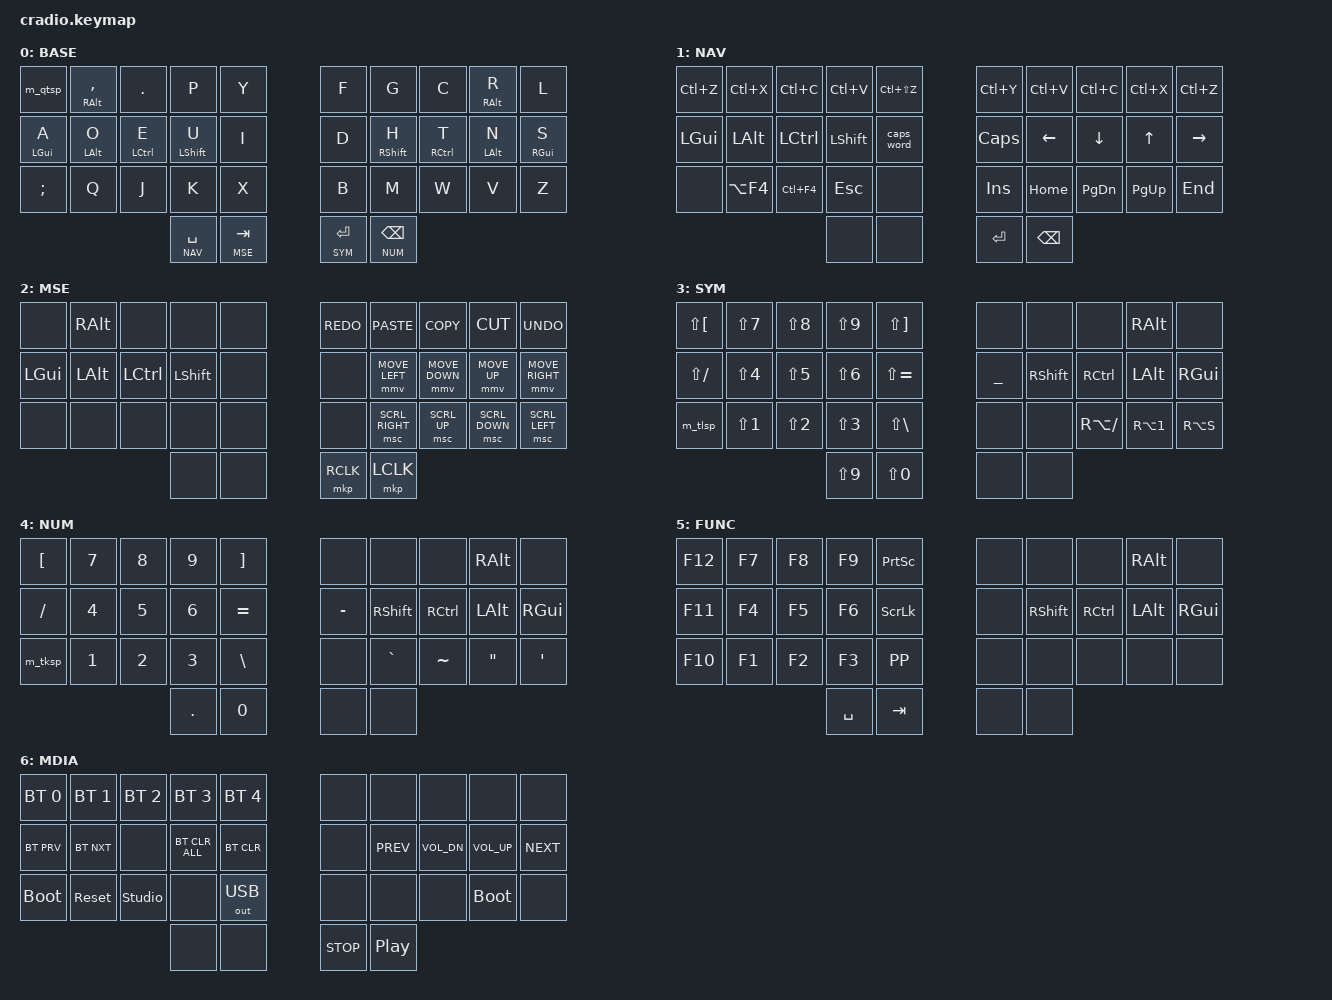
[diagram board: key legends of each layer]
#include <behaviors.dtsi>
#include <dt-bindings/zmk/bt.h>
#include <dt-bindings/zmk/ext_power.h>
#include <dt-bindings/zmk/keys.h>
#include <dt-bindings/zmk/pointing.h>
#include <dt-bindings/zmk/outputs.h>

#define BASE 0
#define NAV  1
#define MSE  2
#define SYM  3
#define NUM  4
#define FUNC 5
#define MDIA 6

/ {
    macros {
        // Sends ` followed by Space
        m_tksp: m_tksp {
            compatible = "zmk,behavior-macro";
            #binding-cells = <0>;
            bindings = <&kp GRAVE &kp SPACE>;
        };

        // Sends ' followed by Space
        m_qtsp: m_qtsp {
            compatible = "zmk,behavior-macro";
            #binding-cells = <0>;
            bindings = <&kp SQT &kp SPACE>;
        };

        // Sends ~ followed by Space
        m_tlsp: m_tlsp {
            compatible = "zmk,behavior-macro";
            #binding-cells = <0>;
            bindings = <&kp LS(GRAVE) &kp SPACE>;
        };
    };
};

/ {
    behaviors {

/* --- TailorKey HRM Behaviors for Ferris (34-key Matrix) --- */

        // Left Pinky
        hrm_lp: hrm_lp {
            compatible = "zmk,behavior-hold-tap";
            #binding-cells = <2>;
            tapping-term-ms = <260>;
            bindings = <&kp>, <&kp>;
            flavor = "tap-preferred";
            quick-tap-ms = <300>;
            require-prior-idle-ms = <150>;
            hold-trigger-key-positions = <5 6 7 8 9 15 16 17 18 19 25 26 27 28 29 30 31 32 33>;
            hold-trigger-on-release;
        };

        // Left Ring
        hrm_lr: hrm_lr {
            compatible = "zmk,behavior-hold-tap";
            #binding-cells = <2>;
            tapping-term-ms = <240>;
            bindings = <&kp>, <&kp>;
            flavor = "tap-preferred";
            quick-tap-ms = <300>;
            require-prior-idle-ms = <150>;
            hold-trigger-key-positions = <5 6 7 8 9 15 16 17 18 19 25 26 27 28 29 30 31 32 33>;
            hold-trigger-on-release;
        };

        // Left Middle
        hrm_lm: hrm_lm {
            compatible = "zmk,behavior-hold-tap";
            #binding-cells = <2>;
            tapping-term-ms = <230>;
            bindings = <&kp>, <&kp>;
            flavor = "tap-preferred";
            quick-tap-ms = <300>;
            require-prior-idle-ms = <150>;
            hold-trigger-key-positions = <5 6 7 8 9 15 16 17 18 19 25 26 27 28 29 30 31 32 33>;
            hold-trigger-on-release;
        };

        // Left Index
        hrm_li: hrm_li {
            compatible = "zmk,behavior-hold-tap";
            #binding-cells = <2>;
            tapping-term-ms = <190>;
            bindings = <&kp>, <&kp>;
            flavor = "tap-preferred";
            quick-tap-ms = <300>;
            require-prior-idle-ms = <100>;
            hold-trigger-key-positions = <5 6 7 8 9 15 16 17 18 19 25 26 27 28 29 30 31 32 33>;
            hold-trigger-on-release;
        };

        // Right Index
        hrm_ri: hrm_ri {
            compatible = "zmk,behavior-hold-tap";
            #binding-cells = <2>;
            tapping-term-ms = <190>;
            bindings = <&kp>, <&kp>;
            flavor = "tap-preferred";
            quick-tap-ms = <300>;
            require-prior-idle-ms = <100>;
            hold-trigger-key-positions = <0 1 2 3 4 10 11 12 13 14 20 21 22 23 24 30 31 32 33>;
            hold-trigger-on-release;
        };

        // Right Middle
        hrm_rm: hrm_rm {
            compatible = "zmk,behavior-hold-tap";
            #binding-cells = <2>;
            tapping-term-ms = <230>;
            bindings = <&kp>, <&kp>;
            flavor = "tap-preferred";
            quick-tap-ms = <300>;
            require-prior-idle-ms = <150>;
            hold-trigger-key-positions = <0 1 2 3 4 10 11 12 13 14 20 21 22 23 24 30 31 32 33>;
            hold-trigger-on-release;
        };

        // Right Ring
        hrm_rr: hrm_rr {
            compatible = "zmk,behavior-hold-tap";
            #binding-cells = <2>;
            tapping-term-ms = <240>;
            bindings = <&kp>, <&kp>;
            flavor = "tap-preferred";
            quick-tap-ms = <300>;
            require-prior-idle-ms = <150>;
            hold-trigger-key-positions = <0 1 2 3 4 10 11 12 13 14 20 21 22 23 24 30 31 32 33>;
            hold-trigger-on-release;
        };

        // Right Pinky
        hrm_rp: hrm_rp {
            compatible = "zmk,behavior-hold-tap";
            #binding-cells = <2>;
            tapping-term-ms = <260>;
            bindings = <&kp>, <&kp>;
            flavor = "tap-preferred";
            quick-tap-ms = <300>;
            require-prior-idle-ms = <150>;
            hold-trigger-key-positions = <0 1 2 3 4 10 11 12 13 14 20 21 22 23 24 30 31 32 33>;
            hold-trigger-on-release;
        };
        
        // Base Thumb keys
        thumbs: thumbs {
            compatible = "zmk,behavior-hold-tap";
            #binding-cells = <2>;
            tapping-term-ms = <200>;
            bindings = <&mo>, <&kp>;
            flavor = "balanced";
            quick-tap-ms = <300>;
        };

        // Consolidated thumb combo behavior (for the missing inner thumbs)
        thumb_combo_behavior: thumb_combo_behavior {
            compatible = "zmk,behavior-hold-tap";
            #binding-cells = <2>;
            flavor = "balanced"; 
            tapping-term-ms = <200>;
            quick-tap-ms = <200>; // Allows repeating ESC or DEL
            bindings = <&mo>, <&kp>;
        };
    };
};

/ {
    combos {
        compatible = "zmk,combos";

        // å (aa) - Left O+E (Ring+Middle)
        combo_aa {
            timeout-ms = <40>;
            key-positions = <11 12>;
            bindings = <&kp RA(W)>;
            layers = <BASE>;
            require-prior-idle-ms = <100>;
        };

        // æ (ae) - Left E+U (Middle+Index)
        combo_ae {
            timeout-ms = <40>;
            key-positions = <12 13>;
            bindings = <&kp RA(Z)>;
            layers = <BASE>;
            require-prior-idle-ms = <100>;
        };

        // þ (thorn) - Left Top Row ' + , (Ring+Middle)
        combo_thorn {
            timeout-ms = <40>;
            key-positions = <1 2>;
            bindings = <&kp RA(T)>;
            layers = <BASE>;
            require-prior-idle-ms = <100>;
        };

        // ´ (Acute Accent) - Right T+N (Middle+Ring)
        combo_accent {
            timeout-ms = <40>;
            key-positions = <17 18>;
            bindings = <&kp SQT>; // Dead-key for International layouts
            layers = <BASE>;
            require-prior-idle-ms = <100>;
        };

        // ø (Norwegian oe) - Right H+T (Index+Middle)
        combo_no_oe {
            timeout-ms = <40>;
            key-positions = <16 17>;
            bindings = <&kp RA(L)>;
            layers = <BASE>;
            require-prior-idle-ms = <100>;
        };

        // ö (Icelandic oe) - Right H+N (Index+Ring) [Wide Skip]
        combo_is_oe {
            timeout-ms = <40>;
            key-positions = <16 18>;
            bindings = <&kp RA(P)>; // Correct AltGr binding for ö
            layers = <BASE>;
            require-prior-idle-ms = <100>;
        };

        // ð (eth) - Right Top Row C+R (Index+Middle)
        combo_eth {
            timeout-ms = <40>;
            key-positions = <7 8>;
            bindings = <&kp RA(D)>;
            layers = <BASE>;
            require-prior-idle-ms = <100>;
        };

        // Left Thumbs: Outer(30) + Inner(31) = MDIA / ESC
        combo_magic_esc {
            timeout-ms = <50>;
            key-positions = <30 31>;
            bindings = <&thumb_combo_behavior MDIA ESC>;
            layers = <BASE>;
            require-prior-idle-ms = <100>;
        };

        // Right Thumbs: Inner(32) + Outer(33) = FUNC / DEL
        combo_func_del {
            timeout-ms = <50>;
            key-positions = <32 33>;
            bindings = <&thumb_combo_behavior FUNC DEL>;
            layers = <BASE>;
            require-prior-idle-ms = <100>;
        };

        // Right Thumbs: Inner(32) + Outer(33) = Middle Click (ONLY on Mouse Layer)
        combo_mouse_middle_click {
            timeout-ms = <50>;
            key-positions = <32 33>;
            bindings = <&mkp MCLK>;
            layers = <MSE>; 
        };

        // Left Thumbs: Outer(30) + Inner(31) = K_APP (ONLY on Function Layer)
        combo_function_app_menu {
            timeout-ms = <50>;
            key-positions = <30 31>;
            bindings = <&kp K_APP>;
            layers = <FUNC>; 
        };
    };
};

/ {
    keymap {
        compatible = "zmk,keymap";

        base {
            display-name = "BASE";
            bindings = <
//  |          0         |          1          |          2          |          3          |          4          |   |          5          |          6          |          7          |          8          |          9          |
    &m_qtsp              &hrm_lr RALT COMMA    &kp DOT               &kp P                 &kp Y                     &kp F                 &kp G                 &kp C                 &hrm_rr RALT R        &kp L
    &hrm_lp LGUI A       &hrm_lr LALT O        &hrm_lm LCTRL E       &hrm_li LSHFT U       &kp I                     &kp D                 &hrm_ri RSHFT H       &hrm_rm RCTRL T       &hrm_rr LALT N        &hrm_rp RGUI S
    &kp SEMI             &kp Q                 &kp J                 &kp K                 &kp X                     &kp B                 &kp M                 &kp W                 &kp V                 &kp Z
                                                                     &thumbs NAV SPACE     &thumbs MSE TAB           &thumbs SYM RET       &thumbs NUM BSPC
            >;
        };

        nav {
            display-name = "NAV";
            bindings = <
//  |          0         |          1          |          2          |          3          |          4          |   |          5          |          6          |          7          |          8          |          9          |
    &kp LC(Z)            &kp LC(X)             &kp LC(C)             &kp LC(V)             &kp LC(LS(Z))             &kp LC(Y)             &kp LC(V)             &kp LC(C)             &kp LC(X)             &kp LC(Z)
    &kp LGUI             &kp LALT              &kp LCTRL             &kp LSHFT             &caps_word                &kp CAPS              &kp LEFT              &kp DOWN              &kp UP                &kp RIGHT
    &none                &kp LA(F4)            &kp LC(F4)            &kp ESC               &none                     &kp INS               &kp HOME              &kp PG_DN             &kp PG_UP             &kp END
                                                                     &none                 &none                     &kp RET               &kp BSPC
            >;
        };

        mse {
            display-name = "MSE";
            bindings = <
//  |          0         |          1          |          2          |          3          |          4          |   |          5          |          6          |          7          |          8          |          9          |
    &none                &kp RALT              &none                 &none                 &none                     &kp K_REDO            &kp K_PASTE           &kp K_COPY            &kp K_CUT             &kp K_UNDO
    &kp LGUI             &kp LALT              &kp LCTRL             &kp LSHFT             &none                     &none                 &mmv MOVE_LEFT        &mmv MOVE_DOWN        &mmv MOVE_UP          &mmv MOVE_RIGHT
    &none                &none                 &none                 &none                 &none                     &none                 &msc SCRL_RIGHT       &msc SCRL_UP          &msc SCRL_DOWN        &msc SCRL_LEFT
                                                                     &none                 &none                     &mkp RCLK             &mkp LCLK
            >;
        };

        sym {
            display-name = "SYM";
            bindings = <
//  |          0         |          1          |          2          |          3          |          4          |   |          5          |          6          |          7          |          8          |          9          |
    &kp LS(LBKT)         &kp LS(N7)            &kp LS(N8)            &kp LS(N9)            &kp LS(RBKT)              &none                 &none                 &none                 &kp RALT              &none
    &kp LS(FSLH)         &kp LS(N4)            &kp LS(N5)            &kp LS(N6)            &kp LS(EQUAL)             &kp UNDER             &kp RSHFT             &kp RCTRL             &kp LALT              &kp RGUI
    &m_tlsp              &kp LS(N1)            &kp LS(N2)            &kp LS(N3)            &kp LS(BSLH)              &none                 &none                 &kp RA(FSLH)          &kp RA(N1)            &kp RA(S)
                                                                     &kp LS(N9)            &kp LS(N0)                &none                 &none
            >;
        };

        num {
            display-name = "NUM";
            bindings = <
//  |          0         |          1          |          2          |          3          |          4          |   |          5          |          6          |          7          |          8          |          9          |
    &kp LBKT             &kp N7                &kp N8                &kp N9                &kp RBKT                  &none                 &none                 &none                 &kp RALT              &none
    &kp FSLH             &kp N4                &kp N5                &kp N6                &kp EQUAL                 &kp MINUS             &kp RSHFT             &kp RCTRL             &kp LALT              &kp RGUI
    &m_tksp              &kp N1                &kp N2                &kp N3                &kp BSLH                  &none                 &kp GRAVE             &kp TILDE             &kp DQT               &kp SQT
                                                                     &kp DOT               &kp N0                    &none                 &none
            >;
        };

        func {
            display-name = "FUNC";
            bindings = <
//  |          0         |          1          |          2          |          3          |          4          |   |          5          |          6          |          7          |          8          |          9          |
    &kp F12              &kp F7                &kp F8                &kp F9                &kp PSCRN                 &none                 &none                 &none                 &kp RALT              &none
    &kp F11              &kp F4                &kp F5                &kp F6                &kp SLCK                  &none                 &kp RSHFT             &kp RCTRL             &kp LALT              &kp RGUI
    &kp F10              &kp F1                &kp F2                &kp F3                &kp K_PP                  &none                 &none                 &none                 &none                 &none
                                                                     &kp SPACE             &kp TAB                   &none                 &none
            >;
        };

        mdia {
            display-name = "MDIA";
            bindings = <
//  |          0         |          1          |          2          |          3          |          4          |   |          5          |          6          |          7          |          8          |          9          |
    &bt BT_SEL 0         &bt BT_SEL 1          &bt BT_SEL 2          &bt BT_SEL 3          &bt BT_SEL 4              &none                 &none                 &none                 &none                 &none
    &bt BT_PRV           &bt BT_NXT            &none                 &bt BT_CLR_ALL        &bt BT_CLR                &none                 &kp C_PREV            &kp C_VOL_DN          &kp C_VOL_UP          &kp C_NEXT
    &bootloader          &sys_reset            &studio_unlock        &none                 &out OUT_USB              &none                 &none                 &none                 &bootloader           &none
                                                                     &none                 &none                     &kp C_STOP            &kp C_PP
            >;
        };
   };
};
